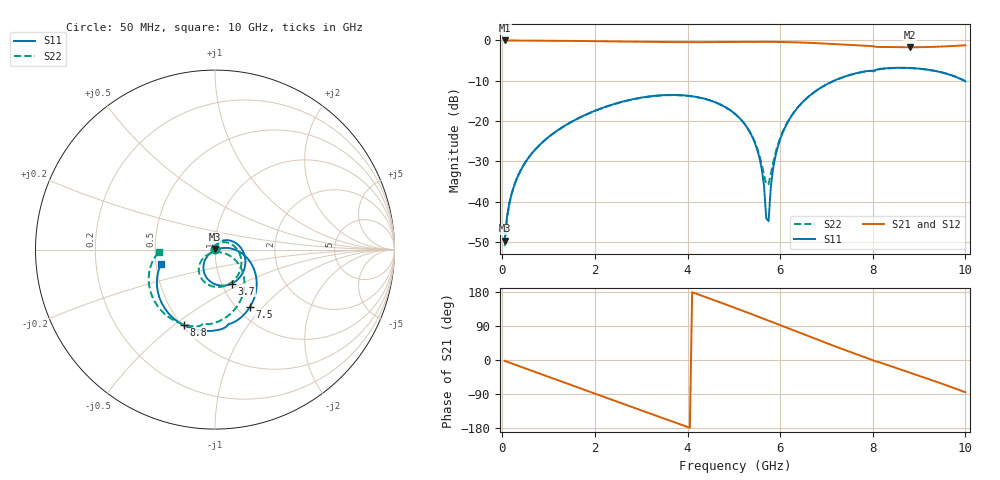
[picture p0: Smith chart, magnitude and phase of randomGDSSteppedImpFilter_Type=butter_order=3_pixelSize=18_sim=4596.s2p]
! freq	dB(S11)	phase(S11)	dB(S12)	phase(S12)
!  dB(S21)	phase(S21)	dB(S22)	phase(S22)
!S-par simulation data
#  GHz  S  DB  R 50
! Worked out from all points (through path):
!   200 points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, 50 MHz to 10 GHz, reference 50 ohm
!   highest |S21| = 0.00 dB at 50 MHz (marker M1); lowest = -1.7 dB at 8.8 GHz (marker M2)
!   group delay of S21, straight-line fit = 125 ps
!   lowest |S11| = -49.7 dB at 50 MHz (marker M3), VSWR 1.01, Z = 50 + j0.326 ohm
!   |S11| at or under -10 dB: start of sweep to 7.161 GHz; 9.973313 GHz to end of sweep
!   |S22| runs from -51.0 to -6.8 dB; largest |S21 - S12| = 0
!   S11 on the Smith chart (normalised r, x): 50 MHz: 1.00, +0.01; 3.7 GHz: 1.12, -0.44; 7.5 GHz: 1.15, -0.85; 8.8 GHz: 0.51, -0.54; 10 GHz: 0.53, -0.09
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0.05  -49.70 85.2  -0.00 -2.2  -0.00 -2.2  -51.03 73.8
0.1  -43.87 83.2  -0.01 -4.5  -0.01 -4.5  -44.27 77.5
0.2  -38.08 79.9  -0.01 -9.0  -0.01 -9.0  -38.13 77.1
0.45  -31.13 71.6  -0.03 -20.0  -0.03 -20.0  -31.11 66.8
1.75  -18.68 20.3  -0.14 -77.7  -0.14 -77.7  -18.73 5.4
2.55  -15.32 -13.7  -0.26 -113.1  -0.26 -113.1  -15.37 -30.9
3.4  -13.62 -50.5  -0.38 -150.4  -0.38 -150.4  -13.67 -68.2
3.7  -13.51 -63.6  -0.41 -163.5  -0.41 -163.5  -13.56 -81.1
4.35  -14.40 -91.9  -0.42 167.9  -0.42 167.9  -14.45 -108.4
5.05  -18.45 -122.7  -0.37 136.4  -0.37 136.4  -18.48 -136.2
5.5  -26.89 -141.2  -0.35 115.6  -0.35 115.6  -26.59 -144.5
5.65  -35.89 -142.0  -0.35 108.6  -0.35 108.6  -33.30 -124.9
5.7  -44.08 -127.4  -0.35 106.2  -0.35 106.2  -35.75 -100.5
5.75  -44.86 -12.0  -0.35 103.8  -0.35 103.8  -35.65 -66.3
5.8  -36.12 11.2  -0.35 101.5  -0.35 101.5  -33.05 -42.1
5.85  -31.60 13.1  -0.36 99.1  -0.36 99.1  -30.23 -30.2
6  -24.51 9.3  -0.38 92.0  -0.38 92.0  -24.21 -21.3
6.7  -13.12 -22.0  -0.62 58.6  -0.62 58.6  -13.14 -43.3
7.5  -8.57 -58.3  -1.12 21.8  -1.12 21.8  -8.61 -77.4
8.35  -6.85 -93.9  -1.63 -14.6  -1.63 -14.6  -6.92 -111.4
8.8  -6.82 -112.6  -1.69 -33.3  -1.69 -33.3  -6.86 -129.5
10  -10.16 -165.3  -1.20 -85.3  -1.20 -85.3  -10.07 -177.5
